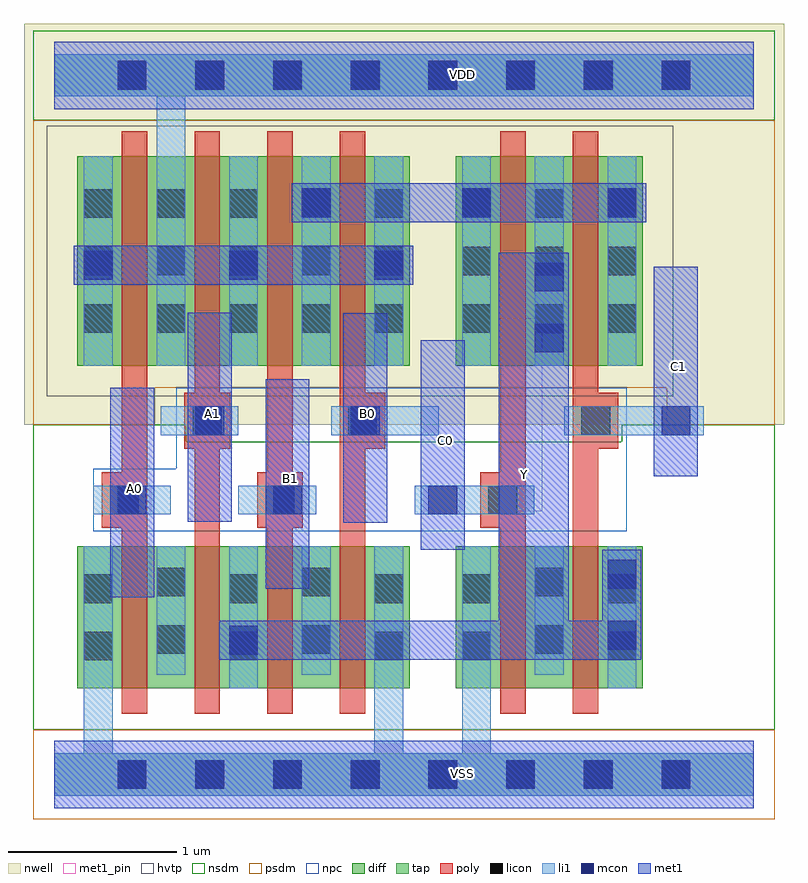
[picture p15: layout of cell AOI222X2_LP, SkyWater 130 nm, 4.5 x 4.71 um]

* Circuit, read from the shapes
.subckt AOI222X2_LP A0 A1 B0 B1 C0 C1 VDD VSS Y
XM1 n1 A0 VSS VSS sky130_fd_pr__nfet_01v8 w=0.84 l=0.15
XM2 Y A1 n1 VSS sky130_fd_pr__nfet_01v8 w=0.84 l=0.15
XM3 n2 B1 Y VSS sky130_fd_pr__nfet_01v8 w=0.84 l=0.15
XM4 VSS B0 n2 VSS sky130_fd_pr__nfet_01v8 w=0.84 l=0.15
XM5 n3 C0 VSS VSS sky130_fd_pr__nfet_01v8 w=0.84 l=0.15
XM6 Y C1 n3 VSS sky130_fd_pr__nfet_01v8 w=0.84 l=0.15
XM7 VDD A0 n4 VDD sky130_fd_pr__pfet_01v8_hvt w=1.24 l=0.15
XM8 n4 A1 VDD VDD sky130_fd_pr__pfet_01v8_hvt w=1.24 l=0.15
XM9 n5 B1 n4 VDD sky130_fd_pr__pfet_01v8_hvt w=1.24 l=0.15
XM10 n4 B0 n5 VDD sky130_fd_pr__pfet_01v8_hvt w=1.24 l=0.15
XM11 Y C0 n5 VDD sky130_fd_pr__pfet_01v8_hvt w=1.24 l=0.15
XM12 n5 C1 Y VDD sky130_fd_pr__pfet_01v8_hvt w=1.24 l=0.15
.ends

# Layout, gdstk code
import gdstk
lib = gdstk.Library(unit=1e-6, precision=1e-09)
def R(c, l, rs):  # rectangles x0, y0, x1, y1
    for r in rs: c.add(gdstk.rectangle(r[:2], r[2:], *l))
def A(c, l, x, y, w, h, nx, ny, dx, dy):  # array of equal rectangles
    R(c, l, [(x+i*dx, y+j*dy, x+i*dx+w, y+j*dy+h) for i in range(nx) for j in range(ny)])
def P(c, l, *ps):  # polygons
    for p in ps: c.add(gdstk.Polygon(p, *l))
nwell = (64, 20)
diff = (65, 20)
tap = (65, 44)
poly = (66, 20)
licon = (66, 44)
li1 = (67, 20)
mcon = (67, 44)
met1_pin = (68, 16)
met1 = (68, 20)
hvtp = (78, 44)
nsdm = (93, 44)
psdm = (94, 20)
npc = (95, 20)

l1m1_c_cdns_750721840975 = lib.new_cell('L1M1_C_CDNS_750721840975')
R(l1m1_c_cdns_750721840975, li1, [(-0.085,-0.345,0.085,0.345)])
R(l1m1_c_cdns_750721840975, mcon, [(-0.085,-0.265,0.085,-0.095), (-0.085,0.095,0.085,0.265)])
R(l1m1_c_cdns_750721840975, met1, [(-0.115,-0.325,0.115,0.325)])

l1m1_c_cdns_750721840971 = lib.new_cell('L1M1_C_CDNS_7507218409710')
R(l1m1_c_cdns_750721840971, li1, [(-0.085,-0.165,0.085,0.165)])
R(l1m1_c_cdns_750721840971, mcon, [(-0.085,-0.085,0.085,0.085)])
R(l1m1_c_cdns_750721840971, met1, [(-0.145,-0.115,0.145,0.115)])

pyl1con_c_cdns_750721840 = lib.new_cell('PYL1CON_C_CDNS_750721840972')
R(pyl1con_c_cdns_750721840, poly, [(-0.135,-0.165,0.135,0.165)])
R(pyl1con_c_cdns_750721840, licon, [(-0.085,-0.085,0.085,0.085)])
R(pyl1con_c_cdns_750721840, npc, [(-0.185,-0.185,0.185,0.185)])

l1m1_c_cdns_750721840973 = lib.new_cell('L1M1_C_CDNS_750721840973')
R(l1m1_c_cdns_750721840973, li1, [(-0.165,-0.085,0.165,0.085)])
R(l1m1_c_cdns_750721840973, mcon, [(-0.085,-0.085,0.085,0.085)])
R(l1m1_c_cdns_750721840973, met1, [(-0.115,-0.145,0.115,0.145)])

c_l1m1_c_cdns_750721840971 = lib.new_cell('L1M1_C_CDNS_7507218409711')
R(c_l1m1_c_cdns_750721840971, li1, [(-0.085,-0.165,0.085,0.165)])
R(c_l1m1_c_cdns_750721840971, mcon, [(-0.085,-0.085,0.085,0.085)])
R(c_l1m1_c_cdns_750721840971, met1, [(-0.115,-0.085,0.115,0.085)])

aoi222x2_lp = lib.new_cell('AOI222X2_LP')
R(aoi222x2_lp, nwell, [(-0.18,2.07,4.32,4.305), (-0.045,2.24,0.785,3.84), (0.425,2.24,1.215,3.84), (0.855,2.24,1.645,3.84), (1.285,2.24,2.285,3.84), (2.195,2.24,3.195,3.84), (2.835,2.24,3.665,3.84), (-0.18,3.875,4.32,4.445)])
A(aoi222x2_lp, diff, 0.4, 0.51, 0.15, 0.84, 4, 1, 0.43, 0)
A(aoi222x2_lp, diff, 0.55, 0.51, 0.225, 0.84, 3, 1, 0.43, 0)
A(aoi222x2_lp, diff, 0.775, 0.51, 0.055, 0.84, 3, 1, 0.43, 0)
A(aoi222x2_lp, diff, 0.4, 2.42, 0.15, 1.24, 4, 1, 0.43, 0)
A(aoi222x2_lp, diff, 0.55, 2.42, 0.055, 1.24, 3, 1, 0.43, 0)
A(aoi222x2_lp, diff, 0.605, 2.42, 0.225, 1.24, 3, 1, 0.43, 0)
R(aoi222x2_lp, diff, [(0.135,0.51,0.4,1.35), (1.84,0.51,2.105,1.35), (2.375,0.51,2.64,1.35), (2.64,0.51,2.79,1.35), (2.79,0.51,2.845,1.35), (2.845,0.51,3.07,1.35), (3.07,0.51,3.22,1.35), (3.22,0.51,3.485,1.35), (0.135,2.42,0.4,3.66), (1.84,2.42,2.105,3.66), (2.375,2.42,2.64,3.66), (2.64,2.42,2.79,3.66), (2.79,2.42,3.015,3.66), (3.015,2.42,3.07,3.66), (3.07,2.42,3.22,3.66), (3.22,2.42,3.485,3.66)])
A(aoi222x2_lp, poly, 0.4, 0.36, 0.15, 0.055, 4, 2, 0.43, 1.085)
A(aoi222x2_lp, poly, 0.4, 0.415, 0.15, 0.095, 4, 2, 0.43, 0.935)
A(aoi222x2_lp, poly, 0.4, 0.51, 0.15, 0.84, 4, 1, 0.43, 0)
A(aoi222x2_lp, poly, 0.4, 2.27, 0.15, 0.055, 4, 2, 0.43, 1.485)
A(aoi222x2_lp, poly, 0.4, 2.325, 0.15, 0.095, 4, 2, 0.43, 1.335)
A(aoi222x2_lp, poly, 0.4, 2.42, 0.15, 1.24, 4, 1, 0.43, 0)
R(aoi222x2_lp, poly, [(2.64,0.36,2.79,0.415), (3.07,0.36,3.22,0.415), (2.64,0.415,2.79,0.51), (3.07,0.415,3.22,0.51), (2.64,0.51,2.79,1.35), (3.07,0.51,3.22,1.35), (2.64,1.35,2.79,1.445), (3.07,1.35,3.22,1.445), (2.64,1.445,2.79,1.5), (3.07,1.445,3.22,1.5), (2.64,2.27,2.79,2.325), (3.07,2.27,3.22,2.325), (2.64,2.325,2.79,2.42), (3.07,2.325,3.22,2.42), (2.64,2.42,2.79,3.66), (3.07,2.42,3.22,3.66), (2.64,3.66,2.79,3.755), (3.07,3.66,3.22,3.755), (2.64,3.755,2.79,3.81), (3.07,3.755,3.22,3.81)])
A(aoi222x2_lp, licon, 0.375, -0.085, 0.17, 0.17, 8, 2, 0.46, 4.14)
A(aoi222x2_lp, licon, 0.175, 0.675, 0.17, 0.17, 3, 2, 0.86, 0.34)
A(aoi222x2_lp, licon, 0.175, 2.615, 0.17, 0.17, 5, 3, 0.43, 0.34)
A(aoi222x2_lp, licon, 2.415, 2.615, 0.17, 0.17, 3, 3, 0.43, 0.34)
R(aoi222x2_lp, licon, [(2.415,0.675,2.585,0.845), (3.275,0.675,3.445,0.845), (0.605,0.715,0.775,0.885), (1.465,0.715,1.635,0.885), (2.845,0.715,3.015,0.885), (2.415,1.015,2.585,1.185), (3.275,1.015,3.445,1.185), (0.605,1.055,0.775,1.225), (1.465,1.055,1.635,1.225), (2.845,1.055,3.015,1.225)])
A(aoi222x2_lp, li1, 0.175, 0.51, 0.17, 0.84, 3, 1, 0.86, 0)
A(aoi222x2_lp, li1, 0.175, 2.42, 0.17, 1.24, 5, 1, 0.43, 0)
A(aoi222x2_lp, li1, 2.415, 2.42, 0.17, 1.24, 3, 1, 0.43, 0)
R(aoi222x2_lp, li1, [(2.415,0.51,2.585,1.35), (3.275,0.51,3.445,1.35), (0.605,0.59,0.775,1.35), (1.465,0.59,1.635,1.35), (2.845,0.59,3.015,1.35)])
A(aoi222x2_lp, mcon, 0.375, -0.085, 0.17, 0.17, 8, 2, 0.46, 4.14)
R(aoi222x2_lp, met1_pin, [(0.33,1.05,0.59,2.29), (1.25,1.1,1.51,2.34), (2.17,1.33,2.43,2.57), (1.71,1.49,1.97,2.73), (0.79,1.495,1.05,2.735), (2.63,1.56,2.89,2.7), (3.55,1.765,3.81,3.005)])
R(aoi222x2_lp, met1, [(2.63,0.68,3.045,3.09)])
R(aoi222x2_lp, hvtp, [(-0.045,2.24,0.785,3.84), (0.425,2.24,1.215,3.84), (0.855,2.24,1.645,3.84), (1.285,2.24,2.285,3.84), (2.195,2.24,3.195,3.84), (2.835,2.24,3.665,3.84)])
R(aoi222x2_lp, nsdm, [(-0.005,0.38,0.785,1.48), (0.765,0.38,1.215,1.48), (1.195,0.38,1.645,1.48), (1.625,0.38,2.245,1.48), (2.235,0.38,2.855,1.48), (2.835,0.38,3.625,1.48), (-0.125,3.875,4.265,4.405), (-0.125,3.93,4.265,4.35)])
P(aoi222x2_lp, nsdm, [(4.265,2.07),(3.36,2.07),(3.36,1.97),(0.78,1.97),(0.78,2.07),(-0.125,2.07),(-0.125,0.265),(4.265,0.265)])
R(aoi222x2_lp, psdm, [(-0.125,-0.265,4.265,0.265), (-0.125,-0.21,4.265,0.21), (-0.005,2.29,0.615,3.79), (0.595,2.29,1.045,3.79), (1.025,2.29,1.475,3.79), (1.455,2.29,2.245,3.79), (2.235,2.29,3.025,3.79), (3.005,2.29,3.625,3.79)])
P(aoi222x2_lp, psdm, [(4.265,3.875),(-0.125,3.875),(-0.125,2.07),(0.595,2.07),(0.595,2.29),(3.625,2.29),(3.625,2.07),(4.265,2.07)])
P(aoi222x2_lp, npc, [(3.39,2.29),(0.72,2.29),(0.72,1.81),(0.23,1.81),(0.23,1.44),(3.39,1.44)])
aoi222x2_lp.add(gdstk.FlexPath([(0.69,0),(2.47,0)], 0.25, ends=(0.085, 0.085), simple_path=True, layer=67, datatype=20))  # li1
aoi222x2_lp.add(gdstk.FlexPath([(4.055,0),(4.14,0)], 0.25, ends=(0.085, 0), simple_path=True, layer=67, datatype=20))  # li1
aoi222x2_lp.add(gdstk.FlexPath([(3.42,0),(4.055,0)], 0.25, ends=(0.085, 0.085), simple_path=True, layer=67, datatype=20))  # li1
aoi222x2_lp.add(gdstk.FlexPath([(0,0),(0.69,0)], 0.25, ends=(0, 0.085), simple_path=True, layer=67, datatype=20))  # li1
aoi222x2_lp.add(gdstk.FlexPath([(2.47,0),(3.42,0)], 0.25, ends=(0.085, 0.085), simple_path=True, layer=67, datatype=20))  # li1
aoi222x2_lp.add(gdstk.FlexPath([(1.98,0.59),(1.98,0.005)], 0.17, ends="flush", simple_path=True, layer=67, datatype=20))  # li1
aoi222x2_lp.add(gdstk.FlexPath([(0,4.14),(0.69,4.14)], 0.25, ends=(0, 0.085), simple_path=True, layer=67, datatype=20))  # li1
aoi222x2_lp.add(gdstk.FlexPath([(2.47,4.14),(3.42,4.14)], 0.25, ends=(0.085, 0.085), simple_path=True, layer=67, datatype=20))  # li1
aoi222x2_lp.add(gdstk.FlexPath([(3.42,4.14),(4.055,4.14)], 0.25, ends=(0.085, 0.085), simple_path=True, layer=67, datatype=20))  # li1
aoi222x2_lp.add(gdstk.FlexPath([(4.055,4.14),(4.14,4.14)], 0.25, ends=(0.085, 0), simple_path=True, layer=67, datatype=20))  # li1
aoi222x2_lp.add(gdstk.FlexPath([(0.69,4.14),(2.47,4.14)], 0.25, ends=(0.085, 0.085), simple_path=True, layer=67, datatype=20))  # li1
aoi222x2_lp.add(gdstk.FlexPath([(0.26,0.59),(0.26,0.015)], 0.17, ends="flush", simple_path=True, layer=67, datatype=20))  # li1
aoi222x2_lp.add(gdstk.FlexPath([(0.69,3.55),(0.69,4.14)], 0.17, ends="flush", simple_path=True, layer=67, datatype=20))  # li1
aoi222x2_lp.add(gdstk.FlexPath([(3.68,2.095),(3.02,2.095)], 0.17, ends="flush", simple_path=True, layer=67, datatype=20))  # li1
aoi222x2_lp.add(gdstk.FlexPath([(0.63,2.095),(1.09,2.095)], 0.17, ends="flush", simple_path=True, layer=67, datatype=20))  # li1
aoi222x2_lp.add(gdstk.FlexPath([(2.275,2.095),(1.64,2.095)], 0.17, ends="flush", simple_path=True, layer=67, datatype=20))  # li1
aoi222x2_lp.add(gdstk.FlexPath([(0.69,1.625),(0.23,1.625)], 0.17, ends="flush", simple_path=True, layer=67, datatype=20))  # li1
aoi222x2_lp.add(gdstk.FlexPath([(2.38,1.625),(2.84,1.625)], 0.17, ends="flush", simple_path=True, layer=67, datatype=20))  # li1
aoi222x2_lp.add(gdstk.FlexPath([(1.55,1.625),(1.09,1.625)], 0.17, ends="flush", simple_path=True, layer=67, datatype=20))  # li1
aoi222x2_lp.add(gdstk.FlexPath([(2.5,0.59),(2.5,0)], 0.17, ends=(0, 0.085), simple_path=True, layer=67, datatype=20))  # li1
aoi222x2_lp.add(gdstk.FlexPath([(2.5,0),(2.47,0)], 0.17, ends=(0.085, 0), simple_path=True, layer=67, datatype=20))  # li1
aoi222x2_lp.add(gdstk.FlexPath([(3.145,2.27),(3.145,1.5)], 0.15, ends="flush", simple_path=True, layer=66, datatype=20))  # poly
aoi222x2_lp.add(gdstk.FlexPath([(2.715,2.27),(2.715,1.5)], 0.15, ends="flush", simple_path=True, layer=66, datatype=20))  # poly
aoi222x2_lp.add(gdstk.FlexPath([(1.765,2.27),(1.765,1.5)], 0.15, ends="flush", simple_path=True, layer=66, datatype=20))  # poly
aoi222x2_lp.add(gdstk.FlexPath([(1.335,2.27),(1.335,1.5)], 0.15, ends="flush", simple_path=True, layer=66, datatype=20))  # poly
aoi222x2_lp.add(gdstk.FlexPath([(0.905,2.27),(0.905,1.5)], 0.15, ends="flush", simple_path=True, layer=66, datatype=20))  # poly
aoi222x2_lp.add(gdstk.FlexPath([(0.475,2.27),(0.475,1.5)], 0.15, ends="flush", simple_path=True, layer=66, datatype=20))  # poly
aoi222x2_lp.add(gdstk.FlexPath([(0,4.14),(4.14,4.14)], 0.4, ends="flush", simple_path=True, layer=68, datatype=20))  # met1
aoi222x2_lp.add(gdstk.FlexPath([(2.76,2.72),(2.76,0.825)], 0.26, ends=(0, 0.145), simple_path=True, layer=68, datatype=20))  # met1
aoi222x2_lp.add(gdstk.FlexPath([(0,0),(4.14,0)], 0.4, ends="flush", simple_path=True, layer=68, datatype=20))  # met1
aoi222x2_lp.add(gdstk.FlexPath([(3.68,3.005),(3.68,1.765)], 0.26, ends="flush", simple_path=True, layer=68, datatype=20))  # met1
aoi222x2_lp.add(gdstk.FlexPath([(1.84,2.73),(1.84,1.49)], 0.26, ends="flush", simple_path=True, layer=68, datatype=20))  # met1
aoi222x2_lp.add(gdstk.FlexPath([(2.3,2.57),(2.3,1.33)], 0.26, ends="flush", simple_path=True, layer=68, datatype=20))  # met1
aoi222x2_lp.add(gdstk.FlexPath([(0.46,2.29),(0.46,1.05)], 0.26, ends="flush", simple_path=True, layer=68, datatype=20))  # met1
aoi222x2_lp.add(gdstk.FlexPath([(1.38,2.34),(1.38,1.1)], 0.26, ends="flush", simple_path=True, layer=68, datatype=20))  # met1
aoi222x2_lp.add(gdstk.FlexPath([(0.975,0.795),(3.36,0.795)], 0.23, ends=(0, 0.115), simple_path=True, layer=68, datatype=20))  # met1
aoi222x2_lp.add(gdstk.FlexPath([(3.36,0.795),(3.36,1.005)], 0.23, ends=(0.115, 0), simple_path=True, layer=68, datatype=20))  # met1
aoi222x2_lp.add(gdstk.FlexPath([(2.125,3.015),(0.26,3.015)], 0.23, ends="flush", simple_path=True, layer=68, datatype=20))  # met1
aoi222x2_lp.add(gdstk.FlexPath([(3.36,3.385),(1.55,3.385)], 0.23, ends="flush", simple_path=True, layer=68, datatype=20))  # met1
aoi222x2_lp.add(gdstk.FlexPath([(2.76,0.825),(2.76,0.7)], 0.26, ends=(0.145, 0), simple_path=True, layer=68, datatype=20))  # met1
aoi222x2_lp.add(gdstk.FlexPath([(0.92,2.735),(0.92,1.495)], 0.26, ends="flush", simple_path=True, layer=68, datatype=20))  # met1
aoi222x2_lp.add(gdstk.FlexPath([(0,0),(4.14,0)], 0.25, ends="flush", simple_path=True, layer=65, datatype=44))  # tap
aoi222x2_lp.add(gdstk.FlexPath([(0,4.14),(4.14,4.14)], 0.25, ends="flush", simple_path=True, layer=65, datatype=44))  # tap
aoi222x2_lp.add(gdstk.FlexPath([(0,4.14),(4.14,4.14)], 0.4, ends="flush", simple_path=True, layer=68, datatype=16))  # met1_pin
aoi222x2_lp.add(gdstk.FlexPath([(0,0),(4.14,0)], 0.4, ends="flush", simple_path=True, layer=68, datatype=16))  # met1_pin
aoi222x2_lp.add(gdstk.Reference(l1m1_c_cdns_750721840975, (3.36,1.005)))
aoi222x2_lp.add(gdstk.Reference(l1m1_c_cdns_750721840975, (2.93,2.765)))
aoi222x2_lp.add(gdstk.Reference(l1m1_c_cdns_750721840971, (1.98,3.015)))
aoi222x2_lp.add(gdstk.Reference(l1m1_c_cdns_750721840971, (0.26,3.015)))
aoi222x2_lp.add(gdstk.Reference(l1m1_c_cdns_750721840971, (1.12,3.015)))
aoi222x2_lp.add(gdstk.Reference(l1m1_c_cdns_750721840971, (1.55,3.385)))
aoi222x2_lp.add(gdstk.Reference(l1m1_c_cdns_750721840971, (2.5,3.385)))
aoi222x2_lp.add(gdstk.Reference(l1m1_c_cdns_750721840971, (3.36,3.385)))
aoi222x2_lp.add(gdstk.Reference(pyl1con_c_cdns_750721840, (0.905,2.095)))
aoi222x2_lp.add(gdstk.Reference(pyl1con_c_cdns_750721840, (0.415,1.625)))
aoi222x2_lp.add(gdstk.Reference(pyl1con_c_cdns_750721840, (1.335,1.625)))
aoi222x2_lp.add(gdstk.Reference(pyl1con_c_cdns_750721840, (1.825,2.095)))
aoi222x2_lp.add(gdstk.Reference(pyl1con_c_cdns_750721840, (2.655,1.625)))
aoi222x2_lp.add(gdstk.Reference(pyl1con_c_cdns_750721840, (3.205,2.095)))
aoi222x2_lp.add(gdstk.Reference(l1m1_c_cdns_750721840973, (3.68,2.095)))
aoi222x2_lp.add(gdstk.Reference(l1m1_c_cdns_750721840973, (1.84,2.095)))
aoi222x2_lp.add(gdstk.Reference(l1m1_c_cdns_750721840973, (0.92,2.095)))
aoi222x2_lp.add(gdstk.Reference(l1m1_c_cdns_750721840973, (2.3,1.625)))
aoi222x2_lp.add(gdstk.Reference(l1m1_c_cdns_750721840973, (1.38,1.625)))
aoi222x2_lp.add(gdstk.Reference(l1m1_c_cdns_750721840973, (0.46,1.625)))
aoi222x2_lp.add(gdstk.Reference(c_l1m1_c_cdns_750721840971, (1.12,0.795)))
aoi222x2_lp.add(gdstk.Label('VDD', (2.415,4.145), layer=68, texttype=5))
aoi222x2_lp.add(gdstk.Label('Y', (2.785,1.775), layer=68, texttype=5))
aoi222x2_lp.add(gdstk.Label('C1', (3.695,2.415), layer=68, texttype=5))
aoi222x2_lp.add(gdstk.Label('B0', (1.855,2.135), layer=68, texttype=5))
aoi222x2_lp.add(gdstk.Label('B1', (1.395,1.75), layer=68, texttype=5))
aoi222x2_lp.add(gdstk.Label('C0', (2.315,1.975), layer=68, texttype=5))
aoi222x2_lp.add(gdstk.Label('A1', (0.935,2.14), layer=68, texttype=5))
aoi222x2_lp.add(gdstk.Label('A0', (0.475,1.695), layer=68, texttype=5))
aoi222x2_lp.add(gdstk.Label('VSS', (2.415,0.005), layer=68, texttype=5))

lib.write_gds('AOI222X2_LP.gds')
